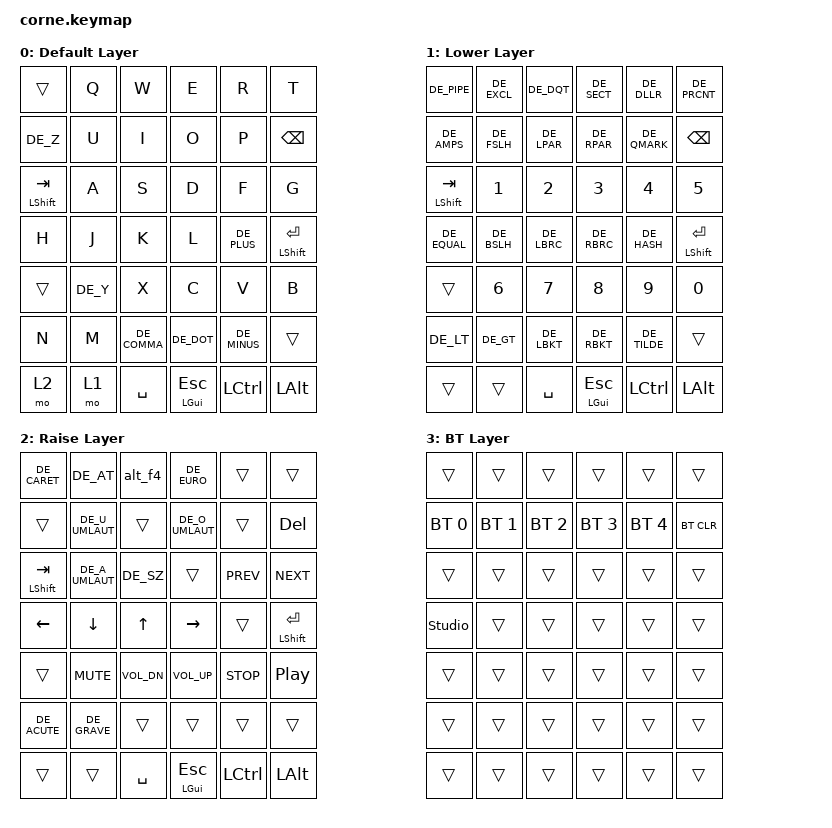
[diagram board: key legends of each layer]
/*
 * Copyright (c) 2020 The ZMK Contributors
 *
 * SPDX-License-Identifier: MIT
 */

#include <behaviors.dtsi>
#include <dt-bindings/zmk/keys.h>
#include "keys_de.h"
#include <dt-bindings/zmk/bt.h>

/ {
    behaviors {
        alt_f4: alt_f4 {
            compatible = "zmk,behavior-macro";
            #binding-cells = <0>;
            wait-ms = <10>;
            tap-ms = <10>;
            bindings = <&macro_press &kp LALT>, <&macro_tap &kp F4>, <&macro_release &kp LALT>;
        };
    };
};


/ {
    combos {
        compatible = "zmk,combos";

        bt_combo {
            timeout-ms = <50>;
            key-positions = <36 37>; // First two thumb keys (mo 2 and mo 1)
            bindings = <&mo 3>;      // switch to BT layer (layer index 3)
        };
    };
};


/ {
        keymap {
                compatible = "zmk,keymap";

                default_layer {
                display-name = "Default Layer";

                // ──────────────────────────────────────────────────────────────────────────────
                // |      |  Q  |  W  |  E  |  R  |  T  |   |  Z  |  U  |  I  |  O  |  P  | Bksp |
                // |Sh/Tab|  A  |  S  |  D  |  F  |  G  |   |  H  |  J  |  K  |  L  |  +  | En/Sh|
                // |      |  Y  |  X  |  C  |  V  |  B  |   |  N  |  M  |  ,  |  .  |  -  |      |
                //              | Raise | Lower | Space |   | Esc/GUI | Ctrl | Alt |
                // ──────────────────────────────────────────────────────────────────────────────

                bindings = <
                        // Row 1
                        &trans         &kp Q        &kp W        &kp E        &kp R        &kp T
                        &kp DE_Z       &kp U        &kp I        &kp O        &kp P        &kp BSPC

                        // Row 2
                        &mt LSHFT TAB  &kp A        &kp S        &kp D        &kp F        &kp G
                        &kp H          &kp J        &kp K        &kp L        &kp DE_PLUS  &mt LSHFT RET

                        // Row 3
                        &trans         &kp DE_Y     &kp X        &kp C        &kp V        &kp B
                        &kp N          &kp M        &kp DE_COMMA &kp DE_DOT   &kp DE_MINUS &trans

                        // Thumbs
                                        &mo 2      &mo 1        &kp SPACE    &mt LGUI ESC &kp LCTRL &kp LALT
                >;
                };

                lower_layer {
                display-name = "Lower Layer";

                // ──────────────────────────────────────────────────────────────────────────────
                // |    |   |  !  |  "  |  §  |  $  |  %  |   |  &  |  /  |  (  |  )  |  ?  | Bksp |
                // | Sh/Tab |  1  |  2  |  3  |  4  |  5  |   |  =  |  \  |  {  |  }  |  #  | Sh/Enter |
                // |        |  6  |  7  |  8  |  9  |  0  |   |  <  |  >  |  [  |  ]  |  ~  |      |
                //                |       |       | Space |   | Esc/GUI | Ctrl | Alt |
                // ──────────────────────────────────────────────────────────────────────────────

                bindings = <
                        /* Row 1 */
                        &kp DE_PIPE    &kp DE_EXCL   &kp DE_DQT   &kp DE_SECT  &kp DE_DLLR  &kp DE_PRCNT
                        &kp DE_AMPS    &kp DE_FSLH   &kp DE_LPAR  &kp DE_RPAR  &kp DE_QMARK &kp BSPC

                        /* Row 2 */
                        &mt LSHFT TAB  &kp N1       &kp N2       &kp N3       &kp N4       &kp N5
                        &kp DE_EQUAL   &kp DE_BSLH  &kp DE_LBRC  &kp DE_RBRC  &kp DE_HASH  &mt LSHFT RET

                        /* Row 3 */
                        &trans         &kp N6       &kp N7       &kp N8       &kp N9       &kp N0
                        &kp DE_LT      &kp DE_GT    &kp DE_LBKT  &kp DE_RBKT  &kp DE_TILDE &trans

                        /* Thumbs */
                                        &trans      &trans       &kp SPACE    &mt LGUI ESC &kp LCTRL &kp LALT
                >;
                };

                raise_layer {
                display-name = "Raise Layer";

                // ──────────────────────────────────────────────────────────────────────────────
                // |   ^   |   @   | Alt+F4|   €  |        |       |   |       |   Ü   |       |   Ö   |       | Delete|
                // | Sh/Tab|   Ä   |   ß   |      | Prev   | Next  |   |  Left | Down  |  Up   | Right |       | Sh/Enter |
                // |       | Mute  | Vol-  | Vol+ | Stop   | Play  |   |   ´   |   `   |       |       |       |      |
                //                         |       |       | Space |   | Esc/GUI | Ctrl | Alt |
                // ──────────────────────────────────────────────────────────────────────────────

                bindings = <
                        /* Row 1 */
                        &kp DE_CARET    &kp DE_AT       &alt_f4        &kp DE_EURO         &trans       &trans
                        &trans          &kp DE_U_UMLAUT &trans         &kp DE_O_UMLAUT     &trans       &kp DEL

                        /* Row 2 */
                        &mt LSHFT TAB   &kp DE_A_UMLAUT &kp DE_SZ      &trans              &kp C_PREV   &kp C_NEXT
                        &kp LEFT        &kp DOWN        &kp UP         &kp RIGHT           &trans       &mt LSHFT RET

                        /* Row 3 */
                        &trans          &kp C_MUTE      &kp C_VOL_DN   &kp C_VOL_UP        &kp C_STOP   &kp C_PLAY_PAUSE
                        &kp DE_ACUTE    &kp DE_GRAVE    &trans         &trans              &trans       &trans

                        /* Thumbs */
                                          &trans        &trans         &kp SPACE           &mt LGUI ESC &kp LCTRL &kp LALT
                >;
                };


                bt_layer {
                display-name = "BT Layer";

                // ──────────────────────────────────────────────────────────────────────────────
                // |      |      |      |      |      |      |   | BT0 | BT1 | BT2 | BT3 | BT4 | BTCLR|
                // |      |      |      |      |      |      |   | ZSU |     |     |     |     |      |
                // |      |      |      |      |      |      |   |     |     |     |     |     |      |
                //                      |      |      |      |   |     |     |     |
                // ──────────────────────────────────────────────────────────────────────────────

                bindings = <
                        // Row 1 - Left side inactive, right side BT functions
                        &trans   &trans   &trans       &trans   &trans   &trans
                        &bt BT_SEL 0 &bt BT_SEL 1 &bt BT_SEL 2 &bt BT_SEL 3 &bt BT_SEL 4 &bt BT_CLR

                        // Row 2 - All inactive
                        &trans   &trans   &trans       &trans   &trans   &trans
                        &studio_unlock   &trans   &trans       &trans   &trans   &trans

                        // Row 3 - All inactive
                        &trans   &trans   &trans       &trans   &trans   &trans
                        &trans   &trans   &trans       &trans   &trans   &trans

                        // Thumbs - All inactive
                                  &trans   &trans       &trans   &trans   &trans   &trans
                >;
                };

        };
};
